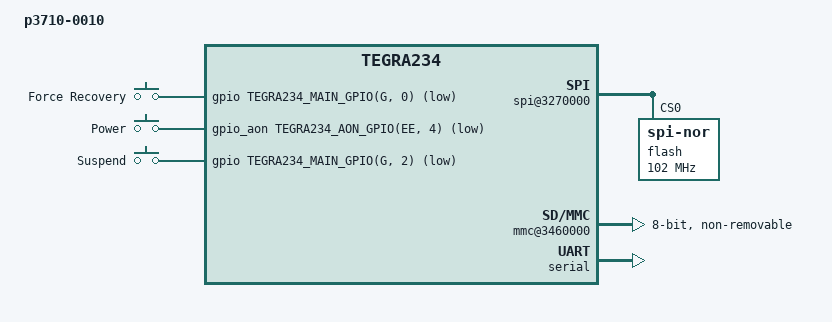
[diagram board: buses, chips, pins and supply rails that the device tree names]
// SPDX-License-Identifier: GPL-2.0
// Copyright (c) 2022, NVIDIA CORPORATION & AFFILIATES. All rights reserved.
/dts-v1/;

#include <dt-bindings/input/linux-event-codes.h>
#include <dt-bindings/input/gpio-keys.h>

#include "tegra234-soc-base.dtsi"

/ {
	compatible = "nvidia,tegra234";

	bus@0 {
		spi@3270000 {
			status = "okay";

			flash@0 {
				compatible = "jedec,spi-nor";
				reg = <0>;
				spi-max-frequency = <102000000>;
				spi-tx-bus-width = <4>;
				spi-rx-bus-width = <4>;
			};
		};

		mmc@3460000 {
			status = "okay";
			bus-width = <8>;
			non-removable;
		};

		rtc@c2a0000 {
			status = "okay";
		};

		pmc@c360000 {
			nvidia,invert-interrupt;
		};
	};
};

/ {
	model = "p3710-0010";
	compatible = "nvidia,tegra234";

	aliases {
		mmc0 = "/bus@0/mmc@3460000";
		serial0 = &tcu;
	};

	chosen {
		bootargs = "console=ttyS0,115200n8";
		stdout-path = "serial0:115200n8";
	};

	gpio-keys {
		compatible = "gpio-keys";
		status = "okay";

		force-recovery {
			label = "Force Recovery";
			gpios = <&gpio TEGRA234_MAIN_GPIO(G, 0) GPIO_ACTIVE_LOW>;
			linux,input-type = <EV_KEY>;
			linux,code = <BTN_1>;
		};

		power-key {
			label = "Power";
			gpios = <&gpio_aon TEGRA234_AON_GPIO(EE, 4) GPIO_ACTIVE_LOW>;
			linux,input-type = <EV_KEY>;
			linux,code = <KEY_POWER>;
			wakeup-event-action = <EV_ACT_ASSERTED>;
			wakeup-source;
		};

		suspend {
			label = "Suspend";
			gpios = <&gpio TEGRA234_MAIN_GPIO(G, 2) GPIO_ACTIVE_LOW>;
			linux,input-type = <EV_KEY>;
			linux,code = <KEY_SLEEP>;
		};
	};

	serial {
		status = "okay";
	};
};
